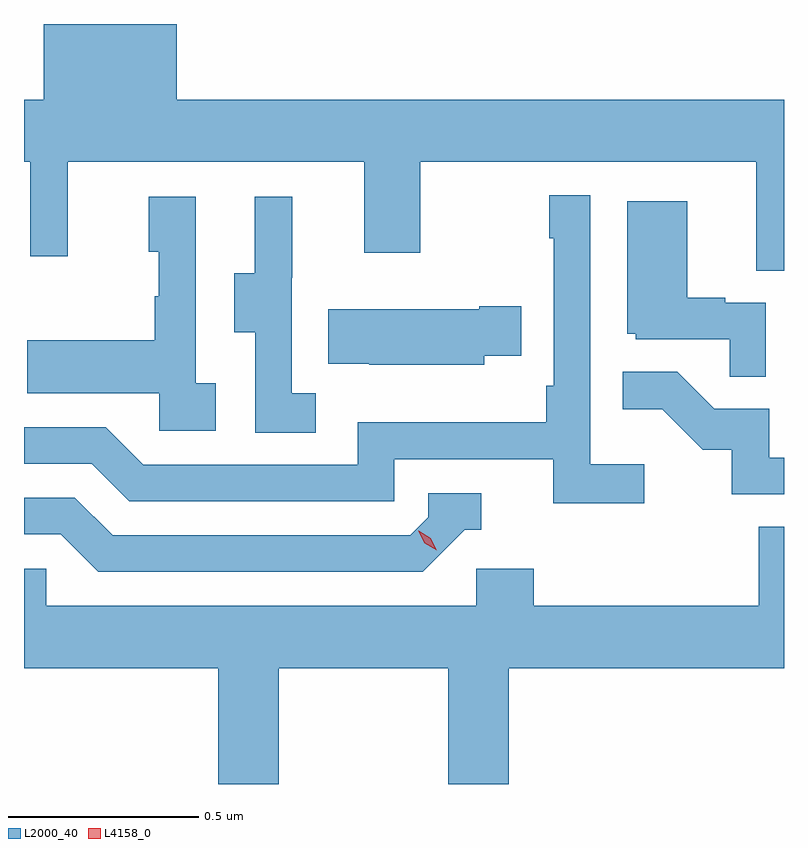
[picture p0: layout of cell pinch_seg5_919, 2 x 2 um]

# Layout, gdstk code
import gdstk
lib = gdstk.Library(unit=1e-6, precision=1e-09)
def P(c, l, *ps):  # polygons
    for p in ps: c.add(gdstk.Polygon(p, *l))
L2000_40 = (2000, 40)
L4158_0 = (4158, 0)

pinch_seg5_919 = lib.new_cell('pinch_seg5_919')
P(pinch_seg5_919, L2000_40, [(823.986,894.22),(822.388,894.22),(822.388,894.419),(822.038,894.419),(822.038,894.22),(821.986,894.22),(821.986,894.056),(822.003,894.056),(822.003,893.808),(822.101,893.808),(822.101,894.056),(822.881,894.056),(822.881,893.817),(823.029,893.817),(823.029,894.056),(823.913,894.056),(823.913,893.77),(823.986,893.77)],
  [(823.618,893.26),(823.476,893.26),(823.476,893.968),(823.368,893.968),(823.368,893.855),(823.38,893.855),(823.38,893.467),(823.36,893.467),(823.36,893.371),(822.864,893.371),(822.864,893.259),(822.3,893.259),(822.201,893.358),(821.986,893.358),(821.986,893.262),(822.164,893.262),(822.263,893.163),(822.96,893.163),(822.96,893.274),(823.379,893.274),(823.379,893.158),(823.618,893.158)],
  [(822.49,893.474),(822.438,893.474),(822.438,893.965),(822.314,893.965),(822.314,893.82),(822.34,893.82),(822.34,893.702),(822.33,893.702),(822.33,893.587),(821.995,893.587),(821.995,893.447),(822.342,893.447),(822.342,893.349),(822.49,893.349)],
  [(822.754,893.447),(822.69,893.447),(822.69,893.751),(822.692,893.751),(822.692,893.965),(822.593,893.965),(822.593,893.763),(822.539,893.763),(822.539,893.608),(822.594,893.608),(822.594,893.344),(822.754,893.344)],
  [(823.938,893.685),(823.832,893.685),(823.832,893.698),(823.732,893.698),(823.732,893.953),(823.574,893.953),(823.574,893.604),(823.596,893.604),(823.596,893.589),(823.843,893.589),(823.843,893.491),(823.938,893.491)],
  [(823.197,893.546),(823.295,893.546),(823.295,893.676),(823.184,893.676),(823.184,893.668),(822.787,893.668),(822.787,893.525),(822.895,893.525),(822.895,893.522),(823.197,893.522)],
  [(823.986,893.277),(823.947,893.277),(823.947,893.406),(823.803,893.406),(823.705,893.504),(823.561,893.504),(823.561,893.405),(823.665,893.405),(823.772,893.298),(823.849,893.298),(823.849,893.181),(823.986,893.181)],
  [(823.146,893.088),(823.189,893.088),(823.189,893.184),(823.05,893.184),(823.05,893.121),(823.002,893.073),(822.219,893.073),(822.12,893.172),(821.986,893.172),(821.986,893.076),(822.083,893.076),(822.182,892.977),(823.035,892.977)],
  [(822.657,892.724),(823.102,892.724),(823.102,892.419),(823.262,892.419),(823.262,892.724),(823.986,892.724),(823.986,893.096),(823.919,893.096),(823.919,892.888),(823.328,892.888),(823.328,892.986),(823.176,892.986),(823.176,892.888),(822.045,892.888),(822.045,892.986),(821.986,892.986),(821.986,892.724),(822.497,892.724),(822.497,892.419),(822.657,892.419)])
P(pinch_seg5_919, L4158_0, [(823.072,893.034),(823.041,893.053),(823.024,893.085),(823.024,893.085),(823.025,893.085),(823.056,893.066),(823.072,893.034),(823.072,893.034)])

lib.write_gds('pinch_seg5_919.gds')
